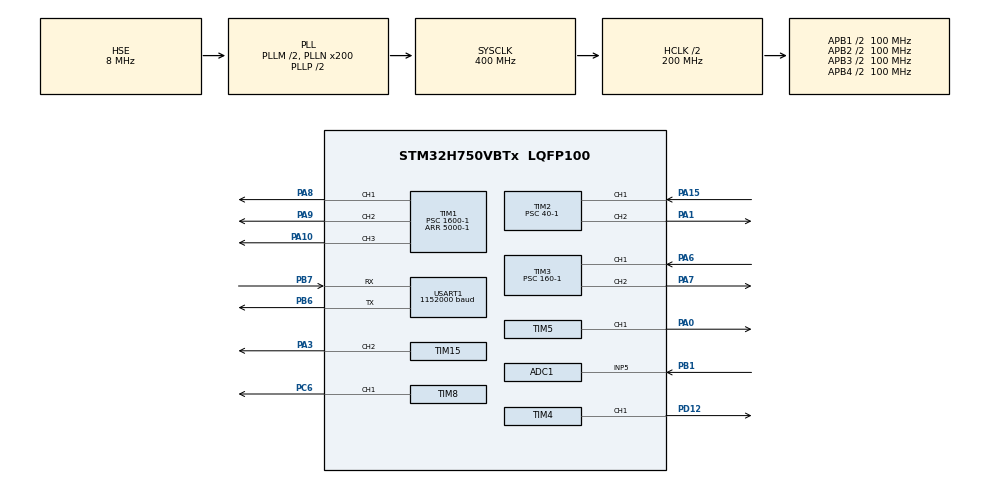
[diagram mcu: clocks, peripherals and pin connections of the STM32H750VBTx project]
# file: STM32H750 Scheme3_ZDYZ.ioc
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ADC1.Channel-1\#ChannelRegularConversion=ADC_CHANNEL_5
ADC1.ClockPrescaler=ADC_CLOCK_ASYNC_DIV2
ADC1.ConversionDataManagement=ADC_CONVERSIONDATA_DMA_ONESHOT
ADC1.ExternalTrigConv=ADC_EXTERNALTRIG_T8_TRGO2
ADC1.NbrOfConversionFlag=1
ADC1.OffsetNumber-1\#ChannelRegularConversion=ADC_OFFSET_NONE
ADC1.OffsetSignedSaturation-1\#ChannelRegularConversion=DISABLE
ADC1.Rank-1\#ChannelRegularConversion=1
ADC1.SamplingTime-1\#ChannelRegularConversion=ADC_SAMPLETIME_2CYCLES_5
ADC1.master=1
CORTEX_M7.default_mode_Activation=1
Dma.ADC1.0.Direction=DMA_PERIPH_TO_MEMORY
Dma.ADC1.0.EventEnable=DISABLE
Dma.ADC1.0.FIFOMode=DMA_FIFOMODE_DISABLE
Dma.ADC1.0.Instance=DMA1_Stream0
Dma.ADC1.0.MemDataAlignment=DMA_MDATAALIGN_HALFWORD
Dma.ADC1.0.MemInc=DMA_MINC_ENABLE
Dma.ADC1.0.Mode=DMA_NORMAL
Dma.ADC1.0.PeriphDataAlignment=DMA_PDATAALIGN_HALFWORD
Dma.ADC1.0.PeriphInc=DMA_PINC_DISABLE
Dma.ADC1.0.Polarity=HAL_DMAMUX_REQ_GEN_RISING
Dma.ADC1.0.Priority=DMA_PRIORITY_LOW
Dma.ADC1.0.RequestNumber=1
Dma.ADC1.0.SignalID=NONE
Dma.ADC1.0.SyncEnable=DISABLE
Dma.ADC1.0.SyncPolarity=HAL_DMAMUX_SYNC_NO_EVENT
Dma.ADC1.0.SyncRequestNumber=1
Dma.ADC1.0.SyncSignalID=NONE
Dma.Request0=ADC1
Mcu.Family=STM32H7
Mcu.Name=STM32H750VBTx
Mcu.Package=LQFP100
NVIC.ADC_IRQn=true\:0\:0\:false\:false\:true\:true\:true\:true
NVIC.DMA1_Stream0_IRQn=true\:0\:0\:false\:false\:true\:false\:true\:true
NVIC.PriorityGroup=NVIC_PRIORITYGROUP_4
PA0.Signal=S_TIM5_CH1
PA1.Signal=S_TIM2_CH2
PA1.Stacked=true
PA10.Signal=S_TIM1_CH3
PA15\ (JTDI).Signal=S_TIM2_CH1_ETR
PA3.Signal=S_TIM15_CH2
PA6.Signal=S_TIM3_CH1
PA7.Signal=S_TIM3_CH2
PA8.Signal=S_TIM1_CH1
PA9.Signal=S_TIM1_CH2
PB1.Signal=ADCx_INP5
PB6.Mode=Asynchronous
PB6.Signal=USART1_TX
PB7.Mode=Asynchronous
PB7.Signal=USART1_RX
PC14-OSC32_IN\ (OSC32_IN).Mode=LSE-External-Oscillator
PC14-OSC32_IN\ (OSC32_IN).Signal=RCC_OSC32_IN
PC15-OSC32_OUT\ (OSC32_OUT).Mode=LSE-External-Oscillator
PC15-OSC32_OUT\ (OSC32_OUT).Signal=RCC_OSC32_OUT
PC4.Signal=ADCx_INP4
PC6.Signal=S_TIM8_CH1
PD12.Signal=S_TIM4_CH1
PH0-OSC_IN\ (PH0).Mode=HSE-External-Oscillator
PH0-OSC_IN\ (PH0).Signal=RCC_OSC_IN
PH1-OSC_OUT\ (PH1).Mode=HSE-External-Oscillator
PH1-OSC_OUT\ (PH1).Signal=RCC_OSC_OUT
ProjectManager.HeapSize=0x200
ProjectManager.StackSize=0x400
ProjectManager.TargetToolchain=MDK-ARM V5.32
RCC.ADCCLockSelection=RCC_ADCCLKSOURCE_CLKP
RCC.ADCFreq_Value=64000000
RCC.APB1Freq_Value=100000000
RCC.APB2Freq_Value=100000000
RCC.APB3Freq_Value=100000000
RCC.APB4Freq_Value=100000000
RCC.CortexFreq_Value=400000000
RCC.D1PPRE=RCC_APB3_DIV2
RCC.D2PPRE1=RCC_APB1_DIV2
RCC.D2PPRE2=RCC_APB2_DIV2
RCC.D3PPRE=RCC_APB4_DIV2
RCC.DIVM1=2
RCC.DIVM2=25
RCC.DIVN1=200
RCC.DIVN2=504
RCC.DIVP2=7
RCC.HCLKFreq_Value=200000000
RCC.HPRE=RCC_HCLK_DIV2
RCC.HSE_VALUE=8000000
RCC.PLL1_VCI_Range-AdvancedSettings=RCC_PLL1VCIRANGE_2
RCC.PLL1_VCO_SEL-AdvancedSettings=RCC_PLL1VCOMEDIUM
RCC.PLL2FRACN=0
RCC.PLL3_VCI_Range-AdvancedSettings=RCC_PLL3VCIRANGE_0
RCC.PLLFRACN=0
RCC.PLLSourceVirtual=RCC_PLLSOURCE_HSE
RCC.ProductRev=revV
RCC.SYSCLKFreq_VALUE=400000000
RCC.SYSCLKSource=RCC_SYSCLKSOURCE_PLLCLK
RCC.USBFreq_Value=400000000
SH.ADCx_INP4.0=ADC1_INP4
SH.ADCx_INP5.0=ADC1_INP5,IN5-Single-Ended
SH.S_TIM15_CH2.0=TIM15_CH2,PWM Generation2 CH2
SH.S_TIM1_CH1.0=TIM1_CH1,PWM Generation1 CH1
SH.S_TIM1_CH2.0=TIM1_CH2,PWM Generation2 CH2
SH.S_TIM1_CH3.0=TIM1_CH3,PWM Generation3 CH3
SH.S_TIM2_CH1_ETR.0=TIM2_CH1,TriggerSource_TI1FP1
SH.S_TIM2_CH2.0=TIM2_CH2,PWM Generation2 CH2
SH.S_TIM3_CH1.0=TIM3_CH1,TriggerSource_TI1FP1
SH.S_TIM3_CH2.0=TIM3_CH2,PWM Generation2 CH2
SH.S_TIM4_CH1.0=TIM4_CH1,PWM Generation1 CH1
SH.S_TIM5_CH1.0=TIM5_CH1,PWM Generation1 CH1
SH.S_TIM8_CH1.0=TIM8_CH1,PWM Generation1 CH1
TIM1.AutoReloadPreload=TIM_AUTORELOAD_PRELOAD_DISABLE
TIM1.Channel-PWM\ Generation1\ CH1=TIM_CHANNEL_1
TIM1.Channel-PWM\ Generation2\ CH2=TIM_CHANNEL_2
TIM1.Channel-PWM\ Generation3\ CH3=TIM_CHANNEL_3
TIM1.Period=5000-1
TIM1.Prescaler=1600-1
TIM1.Pulse-PWM\ Generation1\ CH1=1000-1
TIM1.Pulse-PWM\ Generation2\ CH2=1000-1
TIM1.Pulse-PWM\ Generation3\ CH3=1000-1
TIM1.RepetitionCounter=0
TIM1.TIM_MasterOutputTrigger=TIM_TRGO_ENABLE
TIM1.TIM_MasterOutputTrigger2=TIM_TRGO2_ENABLE
TIM1.TIM_MasterSlaveMode=TIM_MASTERSLAVEMODE_ENABLE
TIM15.Channel-PWM\ Generation2\ CH2=TIM_CHANNEL_2
TIM15.OCPolarity_2=TIM_OCPOLARITY_LOW
TIM15.Period=4-1
TIM15.Prescaler=40-1
TIM15.Pulse-PWM\ Generation2\ CH2=3-1
TIM2.Channel-PWM\ Generation2\ CH2=TIM_CHANNEL_2
TIM2.OCMode_PWM-PWM\ Generation2\ CH2=TIM_OCMODE_PWM2
TIM2.Period=482-1
TIM2.Prescaler=40-1
TIM2.Pulse-PWM\ Generation2\ CH2=479-1
TIM2.TIM_MasterOutputTrigger=TIM_TRGO_OC2REF
TIM2.TIM_MasterSlaveMode=TIM_MASTERSLAVEMODE_ENABLE
TIM3.Channel-PWM\ Generation2\ CH2=TIM_CHANNEL_2
TIM3.OCMode_PWM-PWM\ Generation2\ CH2=TIM_OCMODE_PWM2
TIM3.Period=50-1
TIM3.Prescaler=160-1
TIM3.Pulse-PWM\ Generation2\ CH2=11-1
TIM3.TIM_MasterOutputTrigger=TIM_TRGO_UPDATE
TIM3.TIM_MasterSlaveMode=TIM_MASTERSLAVEMODE_ENABLE
TIM4.Channel-PWM\ Generation1\ CH1=TIM_CHANNEL_1
TIM4.OCMode_PWM-PWM\ Generation1\ CH1=TIM_OCMODE_PWM2
TIM4.Period=100-1
TIM4.Prescaler=160-1
TIM4.Pulse-PWM\ Generation1\ CH1=61-1
TIM4.TIM_MasterOutputTrigger=TIM_TRGO_UPDATE
TIM4.TIM_MasterSlaveMode=TIM_MASTERSLAVEMODE_ENABLE
TIM5.Channel-PWM\ Generation1\ CH1=TIM_CHANNEL_1
TIM5.OCMode_PWM-PWM\ Generation1\ CH1=TIM_OCMODE_PWM2
TIM5.Period=150-1
TIM5.Prescaler=160-1
TIM5.Pulse-PWM\ Generation1\ CH1=111-1
TIM5.TIM_MasterOutputTrigger=TIM_TRGO_UPDATE
TIM8.AutoReloadPreload=TIM_AUTORELOAD_PRELOAD_ENABLE
TIM8.Channel-PWM\ Generation1\ CH1=TIM_CHANNEL_1
TIM8.OCMode_PWM-PWM\ Generation1\ CH1=TIM_OCMODE_PWM2
TIM8.Period=64-1
TIM8.Prescaler=5-1
TIM8.Pulse-PWM\ Generation1\ CH1=24-1
TIM8.RepetitionCounter=256-1
TIM8.TIM_MasterOutputTrigger2=TIM_TRGO2_OC1REF
TIM8.TIM_MasterSlaveMode=TIM_MASTERSLAVEMODE_ENABLE
USART1.BaudRate=1152000
USART1.VirtualMode-Asynchronous=VM_ASYNC
VP_MEMORYMAP_VS_MEMORYMAP.Mode=CurAppReg
VP_TIM15_VS_ClockSourceINT.Mode=Internal
VP_TIM15_VS_ClockSourceITR.Mode=TriggerSource_ITR0
VP_TIM15_VS_ControllerModeTrigger.Mode=Trigger Mode
VP_TIM1_VS_ClockSourceINT.Mode=Internal
VP_TIM2_VS_ClockSourceINT.Mode=Internal
VP_TIM2_VS_ControllerModeTrigger.Mode=Trigger Mode
VP_TIM2_VS_OPM.Mode=OPM_bit
VP_TIM3_VS_ClockSourceINT.Mode=Internal
VP_TIM3_VS_ControllerModeTrigger.Mode=Trigger Mode
VP_TIM3_VS_OPM.Mode=OPM_bit
VP_TIM4_VS_ClockSourceINT.Mode=Internal
VP_TIM4_VS_ClockSourceITR.Mode=TriggerSource_ITR2
VP_TIM4_VS_ControllerModeTrigger.Mode=Trigger Mode
VP_TIM4_VS_OPM.Mode=OPM_bit
VP_TIM5_VS_ClockSourceINT.Mode=Internal
VP_TIM5_VS_ClockSourceITR.Mode=TriggerSource_ITR3
VP_TIM5_VS_ControllerModeTrigger.Mode=Trigger Mode
VP_TIM5_VS_OPM.Mode=OPM_bit
VP_TIM8_VS_ClockSourceINT.Mode=Internal
VP_TIM8_VS_ClockSourceITR.Mode=TriggerSource_ITR1
VP_TIM8_VS_ControllerModeTrigger.Mode=Trigger Mode
VP_TIM8_VS_OPM.Mode=OPM_bit
VREF+.Mode=InternalMode
VREF+.Signal=VREFBUF_OUT
board=custom

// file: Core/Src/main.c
/* USER CODE BEGIN Header */
/**
  ******************************************************************************
  * @file           : main.c
  * @brief          : Main program body
  ******************************************************************************
  * @attention
  *
  * Copyright (c) 2025 STMicroelectronics.
  * All rights reserved.
  *
  * This software is licensed under terms that can be found in the LICENSE file
  * in the root directory of this software component.
  * If no LICENSE file comes with this software, it is provided AS-IS.
  *
  ******************************************************************************
  */
/* USER CODE END Header */

#include "main.h"
#include "adc.h"
#include "dma.h"
#include "memorymap.h"
#include "tim.h"
#include "usart.h"
#include "gpio.h"

/* USER CODE BEGIN Includes */
#include "stdio.h"
#include "string.h"
/* USER CODE END Includes */

/* USER CODE BEGIN PD */
#define ADC_BUF_LEN 256
#define TX_BUF_SIZE 2053  // 2053可根据需要扩大
/* USER CODE END PD */

/* USER CODE BEGIN PV */
uint16_t adcv;
float adcv_f;
__attribute__((section(".RAM_D1"))) uint16_t adc_buf[ADC_BUF_LEN];

volatile  uint8_t Flag_dma1stream0IRQ = 0;
volatile  uint8_t Flag_dma1stream1IRQ = 0;
uint8_t Flag_usart1TxIRQ = 0;

uint16_t i_buff = 0;

__attribute__((section(".RAM_D1"))) uint8_t uart_tx_buf[TX_BUF_SIZE];
uint32_t uart_tx_len = 0;

/* USER CODE END PV */

void SystemClock_Config(void);
static void MPU_Config(void);
void PeriphCommonClock_Config(void);

/* USER CODE BEGIN 0 */
extern DMA_HandleTypeDef hdma_adc1;
extern DMA_HandleTypeDef hdma_usart1_tx;
extern ADC_HandleTypeDef hadc1;
extern UART_HandleTypeDef huart1;

/* USER CODE END 0 */

int main(void)
{
  /* MPU Configuration--------------------------------------------------------*/
  MPU_Config();
	SCB_EnableICache();  // 只对 Cacheable 区域有效
	SCB_EnableDCache();  // 启用数据 Cache

  /* MCU Configuration--------------------------------------------------------*/

  /* Reset of all peripherals, Initializes the Flash interface and the Systick. */
  HAL_Init();

  /* Configure the system clock */
  SystemClock_Config();
	PeriphCommonClock_Config();

  /* Initialize all configured peripherals */
  MX_GPIO_Init();

  MX_DMA_Init();
  MX_TIM15_Init();
  MX_TIM1_Init();
  MX_TIM2_Init();
	MX_USART1_UART_Init();
  MX_ADC1_Init();
  MX_TIM3_Init();
  MX_TIM4_Init();
  MX_TIM5_Init();
  MX_TIM8_Init();
  /* USER CODE BEGIN 2 */
	// TIM15��TIM2��TIM3��������TIM1�������ȴ�TIM1���ź�
	HAL_TIM_PWM_Start(&htim15, TIM_CHANNEL_2);  // PA3
	HAL_TIM_OC_Start(&htim2, TIM_CHANNEL_2);    // PA1
	HAL_TIM_OC_Start(&htim3, TIM_CHANNEL_2);    // PA7
		// TIM8����ADC����
	HAL_TIM_PWM_Start(&htim8, TIM_CHANNEL_1);    // PC6

	HAL_TIM_PWM_Start(&htim1, TIM_CHANNEL_1);   // PE9
	HAL_TIM_PWM_Start(&htim1, TIM_CHANNEL_2);   // PE11
	HAL_TIM_PWM_Start(&htim1, TIM_CHANNEL_3);   // PE13
	HAL_TIM_OC_Start(&htim4, TIM_CHANNEL_1);    // PD12
	HAL_TIM_OC_Start(&htim5, TIM_CHANNEL_1);    // PA0

	if(HAL_ADCEx_Calibration_Start(&hadc1, ADC_CALIB_OFFSET, ADC_SINGLE_ENDED) != HAL_OK)
	{
		Error_Handler();
	}
	// 启动 ADC + DMA 采样 256 次
  HAL_ADC_Start_DMA(&hadc1, (uint32_t*)adc_buf, ADC_BUF_LEN);

//	char str[] = "HelloWorld\r\n";
//  HAL_UART_Transmit(&huart1, (uint8_t *)str, strlen(str), HAL_MAX_DELAY);

  /* USER CODE END 2 */

  /* Infinite loop */
  while (1)
  {
		if (Flag_dma1stream0IRQ == 1)
		{
			Flag_dma1stream0IRQ = 0;

			uart_tx_len = 0;

			// 加入数据包起始标志位 "3.5\r\n"
      uart_tx_len += snprintf((char*)&uart_tx_buf[uart_tx_len], TX_BUF_SIZE - uart_tx_len, "3.5\r\n");
			// 将所有采样值格式化进 uart_tx_buf
			for (i_buff = 0; i_buff < ADC_BUF_LEN; i_buff++)
			{
					uart_tx_len += snprintf((char*)&uart_tx_buf[uart_tx_len], TX_BUF_SIZE - uart_tx_len,
																	"%.4f\r\n", adc_buf[i_buff] * 3.3f / 65535.0f);
			}

			// 启动 DMA 传输（只有等上次传输完成后再传）
			if (huart1.gState == HAL_UART_STATE_READY )
			{
				Flag_usart1TxIRQ = 0;
				HAL_UART_Transmit_DMA(&huart1, (uint8_t *)uart_tx_buf, uart_tx_len);
//				HAL_UART_TxCpltCallback(&huart1);
			}

			// 重启 ADC DMA
			HAL_ADC_Start_DMA(&hadc1, (uint32_t *)adc_buf, ADC_BUF_LEN);
    }

  }

}

void HAL_UART_TxCpltCallback(UART_HandleTypeDef *huart)
{
	HAL_UART_IRQHandler(&huart1);
	if (huart->Instance == USART1)
  {
//    HAL_UART_DMAStop(huart);

		Flag_usart1TxIRQ = 1;  // 标志发送完成
  }
}

void SystemClock_Config(void)
{
  RCC_OscInitTypeDef RCC_OscInitStruct = {0};
  RCC_ClkInitTypeDef RCC_ClkInitStruct = {0};

  /** Supply configuration update enable
  */
	__HAL_RCC_SYSCFG_CLK_ENABLE();
  HAL_PWREx_ConfigSupply(PWR_LDO_SUPPLY);

  /** Configure the main internal regulator output voltage
  */
	__HAL_RCC_VREF_CLK_ENABLE();

	HAL_SYSCFG_DisableVREFBUF();
	HAL_SYSCFG_VREFBUF_HighImpedanceConfig(SYSCFG_VREFBUF_HIGH_IMPEDANCE_ENABLE);

//	HAL_SYSCFG_EnableVREFBUF();
//	HAL_SYSCFG_VREFBUF_HighImpedanceConfig(SYSCFG_VREFBUF_HIGH_IMPEDANCE_DISABLE);

  __HAL_PWR_VOLTAGESCALING_CONFIG(PWR_REGULATOR_VOLTAGE_SCALE0);

  while(!__HAL_PWR_GET_FLAG(PWR_FLAG_VOSRDY)) {}

  /** Initializes the RCC Oscillators according to the specified parameters
  * in the RCC_OscInitTypeDef structure.
  */
  RCC_OscInitStruct.OscillatorType = RCC_OSCILLATORTYPE_HSE;
  RCC_OscInitStruct.HSEState = RCC_HSE_ON;
  RCC_OscInitStruct.PLL.PLLState = RCC_PLL_ON;
  RCC_OscInitStruct.PLL.PLLSource = RCC_PLLSOURCE_HSE;
  RCC_OscInitStruct.PLL.PLLM = 2;
  RCC_OscInitStruct.PLL.PLLN = 200;
  RCC_OscInitStruct.PLL.PLLP = 2;
  RCC_OscInitStruct.PLL.PLLQ = 2;
  RCC_OscInitStruct.PLL.PLLR = 2;
  RCC_OscInitStruct.PLL.PLLRGE = RCC_PLL1VCIRANGE_2;
  RCC_OscInitStruct.PLL.PLLVCOSEL = RCC_PLL1VCOWIDE;
  RCC_OscInitStruct.PLL.PLLFRACN = 0;
  if (HAL_RCC_OscConfig(&RCC_OscInitStruct) != HAL_OK)
  {
    Error_Handler();
  }

  /** Initializes the CPU, AHB and APB buses clocks
  */
  RCC_ClkInitStruct.ClockType = RCC_CLOCKTYPE_HCLK|RCC_CLOCKTYPE_SYSCLK
                              |RCC_CLOCKTYPE_PCLK1|RCC_CLOCKTYPE_PCLK2
                              |RCC_CLOCKTYPE_D3PCLK1|RCC_CLOCKTYPE_D1PCLK1;
  RCC_ClkInitStruct.SYSCLKSource = RCC_SYSCLKSOURCE_PLLCLK;
  RCC_ClkInitStruct.SYSCLKDivider = RCC_SYSCLK_DIV1;
  RCC_ClkInitStruct.AHBCLKDivider = RCC_HCLK_DIV2;
  RCC_ClkInitStruct.APB3CLKDivider = RCC_APB3_DIV2;
  RCC_ClkInitStruct.APB1CLKDivider = RCC_APB1_DIV2;
  RCC_ClkInitStruct.APB2CLKDivider = RCC_APB2_DIV2;
  RCC_ClkInitStruct.APB4CLKDivider = RCC_APB4_DIV2;

  if (HAL_RCC_ClockConfig(&RCC_ClkInitStruct, FLASH_LATENCY_2) != HAL_OK)
  {
    Error_Handler();
  }

}

/* USER CODE BEGIN 4 */
/**
  * @brief Peripherals Common Clock Configuration
  * @retval None
  */
void PeriphCommonClock_Config(void)
{
  RCC_PeriphCLKInitTypeDef PeriphClkInitStruct = {0};

  /** Initializes the peripherals clock
  */
  PeriphClkInitStruct.PeriphClockSelection = RCC_PERIPHCLK_CKPER;
  PeriphClkInitStruct.CkperClockSelection = RCC_CLKPSOURCE_HSI;
  if (HAL_RCCEx_PeriphCLKConfig(&PeriphClkInitStruct) != HAL_OK)
  {
    Error_Handler();
  }
}
/* USER CODE END 4 */

 /* MPU Configuration */

//void MPU_Config(void)
//{
//  MPU_Region_InitTypeDef MPU_InitStruct = {0};

//  /* Disables the MPU */
//  HAL_MPU_Disable();

//  /** Initializes and configures the Region and the memory to be protected
//  */
//  MPU_InitStruct.Enable = MPU_REGION_ENABLE;
//  MPU_InitStruct.Number = MPU_REGION_NUMBER0;
//  MPU_InitStruct.BaseAddress = 0x0;
//  MPU_InitStruct.Size = MPU_REGION_SIZE_4GB;
//  MPU_InitStruct.SubRegionDisable = 0x87;
//  MPU_InitStruct.TypeExtField = MPU_TEX_LEVEL0;
//  MPU_InitStruct.AccessPermission = MPU_REGION_NO_ACCESS;
//  MPU_InitStruct.DisableExec = MPU_INSTRUCTION_ACCESS_DISABLE;
//  MPU_InitStruct.IsShareable = MPU_ACCESS_SHAREABLE;
//  MPU_InitStruct.IsCacheable = MPU_ACCESS_NOT_CACHEABLE;
//  MPU_InitStruct.IsBufferable = MPU_ACCESS_NOT_BUFFERABLE;

//  HAL_MPU_ConfigRegion(&MPU_InitStruct);
//  /* Enables the MPU */
//  HAL_MPU_Enable(MPU_PRIVILEGED_DEFAULT);

//}

void MPU_Config(void)
{
  MPU_Region_InitTypeDef MPU_InitStruct = {0};

  // 1️⃣ 关闭 MPU
  HAL_MPU_Disable();

  // 2️⃣ 配置默认禁止区域（可选）
  MPU_InitStruct.Enable = MPU_REGION_ENABLE;
  MPU_InitStruct.Number = MPU_REGION_NUMBER0;
  MPU_InitStruct.BaseAddress = 0x00000000;
  MPU_InitStruct.Size = MPU_REGION_SIZE_4GB;
  MPU_InitStruct.SubRegionDisable = 0x87;
  MPU_InitStruct.TypeExtField = MPU_TEX_LEVEL0;
  MPU_InitStruct.AccessPermission = MPU_REGION_NO_ACCESS;
  MPU_InitStruct.DisableExec = MPU_INSTRUCTION_ACCESS_DISABLE;
  MPU_InitStruct.IsShareable = MPU_ACCESS_SHAREABLE;
  MPU_InitStruct.IsCacheable = MPU_ACCESS_NOT_CACHEABLE;
  MPU_InitStruct.IsBufferable = MPU_ACCESS_NOT_BUFFERABLE;
  HAL_MPU_ConfigRegion(&MPU_InitStruct);

  // 3️⃣ 设置 RAM D1 区域（0x24000000 - 0x2407FFFF）为非 Cacheable
  MPU_InitStruct.Enable = MPU_REGION_ENABLE;
  MPU_InitStruct.Number = MPU_REGION_NUMBER1;  // 区域编号可自定义
  MPU_InitStruct.BaseAddress = 0x24000000;
  MPU_InitStruct.Size = MPU_REGION_SIZE_512KB;
  MPU_InitStruct.SubRegionDisable = 0x00;
  MPU_InitStruct.TypeExtField = MPU_TEX_LEVEL1;  // 非缓存建议使用 TEX1
  MPU_InitStruct.AccessPermission = MPU_REGION_FULL_ACCESS;
  MPU_InitStruct.DisableExec = MPU_INSTRUCTION_ACCESS_ENABLE;
  MPU_InitStruct.IsShareable = MPU_ACCESS_NOT_SHAREABLE;
  MPU_InitStruct.IsCacheable = MPU_ACCESS_NOT_CACHEABLE;
  MPU_InitStruct.IsBufferable = MPU_ACCESS_NOT_BUFFERABLE;
  HAL_MPU_ConfigRegion(&MPU_InitStruct);

  // 4️⃣ 启用 MPU
  HAL_MPU_Enable(MPU_PRIVILEGED_DEFAULT);
}

void Error_Handler(void)
{
  __disable_irq();
  while (1)
  {
  }
}
